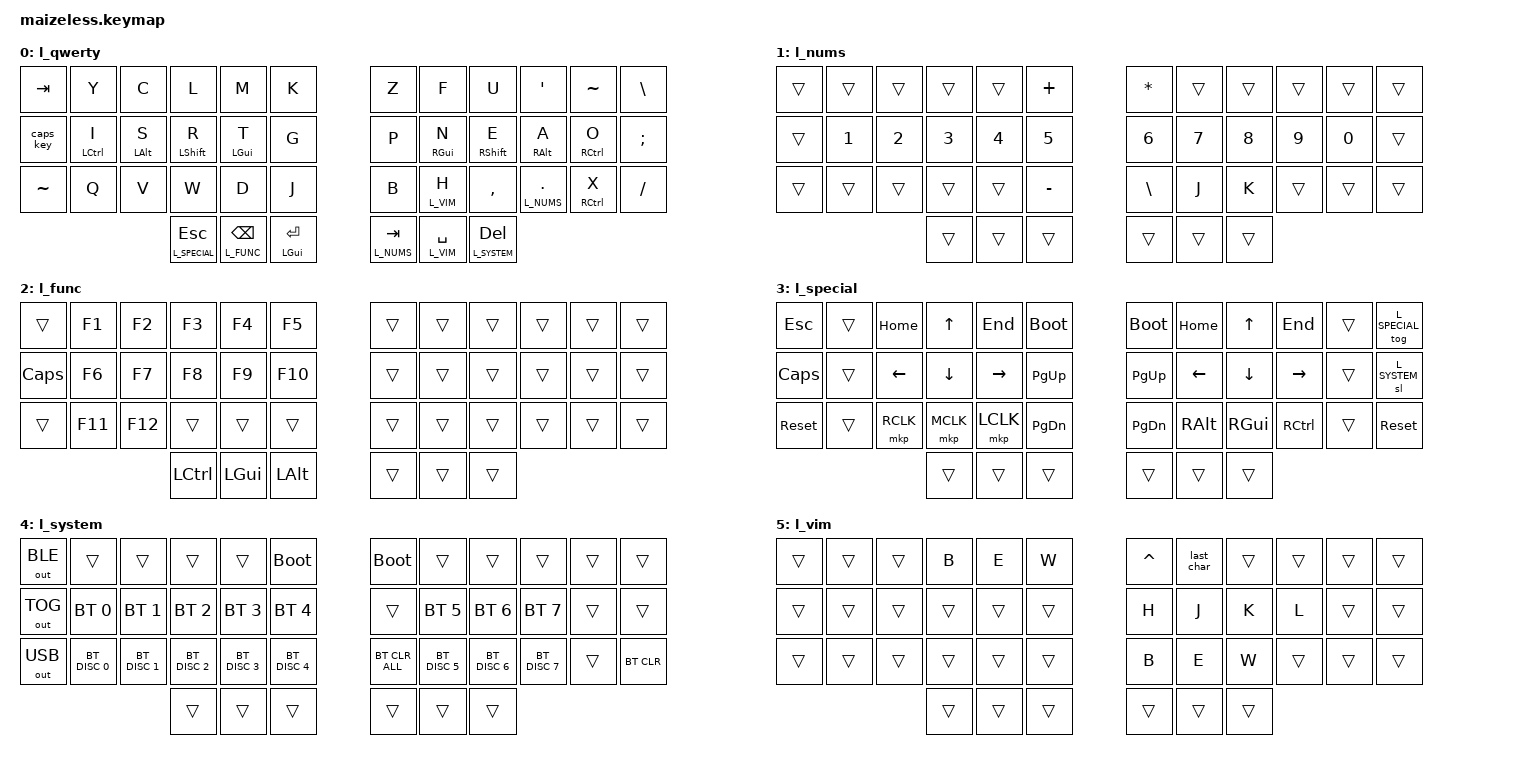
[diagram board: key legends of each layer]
/* vim: ft=dts
 * Copyright (c) 2020 The ZMK Contributors
 *
 * SPDX-License-Identifier: MIT
 */

#include <behaviors.dtsi>
#include <dt-bindings/zmk/keys.h>
#include <dt-bindings/zmk/bt.h>
#include <dt-bindings/zmk/outputs.h>
#include <dt-bindings/zmk/mouse.h>
// From dhruvinsh
#include <behaviors/num_word.dtsi>
#define L_QWERTY  0
#define L_NUMS    1
#define L_FUNC    2
#define L_SPECIAL 3
#define L_SYSTEM  4
#define L_VIM     5
//#define L_SFT_VIM 6
//#define L_VIM_VIS 7


&num_word {
//num_word to be used to temporarily activite number layer instead of holding layer key
};

//TODO Look at setting up the thumb keys and layers
//https://imgur.com/a/corne-crkbd-layout-DKzQ9TL
//https://github.com/manna-harbour/miryoku/tree/master/docs/reference
//https://precondition.github.io/home-row-mods#tap-hold-configuration-settings

/* Template

  layer_name{
    bindings = <
      &trans &trans &trans &trans &trans &trans           &trans &trans &trans &trans &trans &trans 
      &trans &trans &trans &trans &trans &trans           &trans &trans &trans &trans &trans &trans 
      &trans &trans &trans &trans &trans &trans           &trans &trans &trans &trans &trans &trans  
                           &trans &trans &trans           &trans &trans &trans  
    >;
  };



 */
 
/{
    keymap {
                compatible = "zmk,keymap";

        l_qwerty {
            bindings = <
&kp TAB       &kp Y        &kp C         &kp L         &kp M        &kp K                &kp Z   &kp F         &kp U           &kp APOS        &kp TILDE         &kp BSLH
&caps_key     &hrm LCTRL I &hrm LALT S   &hrm LSHFT R  &hrm LGUI T  &kp G                &kp P   &hrm RGUI N   &hrm RSHFT E    &hrm RALT A     &hrm RCTRL O     &kp SEMI
&kp TILDE     &kp Q        &kp V         &kp W         &kp D        &kp J                &kp B   &lt L_VIM H   &kp COMMA       &lt L_NUMS DOT  &hrm RCTRL X     &kp SLASH
                            &lt L_SPECIAL ESC &lt L_FUNC BSPC &mt LGUI ENTER             &lt L_NUMS TAB &lt L_VIM SPACE &lt L_SYSTEM DEL
            >;
        };


        l_nums {
            bindings = <
&trans    &trans     &trans    &trans     &trans    &kp PLUS      &kp ASTRK &trans   &trans   &trans   &trans   &trans 
&trans    &kp N1     &kp N2    &kp N3     &kp N4    &kp N5        &kp N6    &kp N7   &kp N8   &kp N9   &kp N0   &trans
&trans    &trans     &trans    &trans     &trans    &kp MINUS     &kp BSLH  &kp J    &kp K    &trans   &trans   &trans
                               &trans     &trans    &trans            &trans      &trans   &trans
            >;
        };

// TODO add special functions like locks etc.
        l_func {
            bindings = <
&trans    &kp F1  &kp F2  &kp F3   &kp F4   &kp F5     &trans   &trans   &trans   &trans &trans  &trans
&kp CLCK  &kp F6  &kp F7  &kp F8   &kp F9   &kp F10    &trans   &trans   &trans   &trans &trans  &trans
&trans    &kp F11 &kp F12 &trans   &trans   &trans     &trans   &trans   &trans   &trans &trans  &trans
                        &kp LCTRL  &kp LGUI &kp LALT   &trans   &trans   &trans
            >;
        };

        l_special {
            bindings = <
&kp ESC    &trans  &kp HOME  &kp UP    &kp END   &bootloader     &bootloader  &kp HOME &kp UP   &kp END  &trans    &tog L_SPECIAL
&kp CLCK   &trans  &kp LEFT  &kp DOWN  &kp RIGHT &kp PG_UP       &kp PG_UP    &kp LEFT &kp DOWN &kp RIGHT &trans   &sl L_SYSTEM
&sys_reset &trans  &mkp RCLK &mkp MCLK &mkp LCLK &kp PG_DN       &kp PG_DN    &kp RALT &kp RGUI &kp RCTRL &trans   &sys_reset 
                             &trans &trans &trans                &trans       &trans   &trans
            >;
        };

        l_system {
            bindings = <
&out OUT_BLE &trans        &trans        &trans         &trans        &bootloader      &bootloader    &trans        &trans        &trans        &trans  &trans
&out OUT_TOG &bt BT_SEL 0  &bt BT_SEL 1  &bt BT_SEL 2   &bt BT_SEL 3  &bt BT_SEL 4     &trans         &bt BT_SEL 5  &bt BT_SEL 6  &bt BT_SEL 7  &trans  &trans
&out OUT_USB &bt BT_DISC 0 &bt BT_DISC 1 &bt BT_DISC 2  &bt BT_DISC 3 &bt BT_DISC 4    &bt BT_CLR_ALL &bt BT_DISC 5 &bt BT_DISC 6 &bt BT_DISC 7 &trans  &bt BT_CLR
                                         &trans         &trans        &trans           &trans         &trans        &trans
            >;
        };

/*         l_vim { */
/*     bindings = < */
/* &trans        &trans      &kp LC(RIGHT) &paste_dn  &kp END        &td_vim_gg      &kp DOWN        &kp RIGHT  &kp LC(Z)     &kp LC(C)     &kp HOME       &tog L_VIM */
/* &trans        &kp END     &kp BSPC      &trans     &trans         &kp LC(X)       &kp LEFT        &trans     &kp LC(RIGHT) &tog L_VIM    &newline_after &trans */
/* &mo L_SFT_VIM &trans      &kp DEL       &kp LC(X)  &tog L_VIM_VIS &kp LC(LEFT)    &kp UP          &trans     &trans        &trans        &kp LC(E)      &mo L_SFT_VIM */
/*                                         &trans     &trans         &mo L_SFT_VIM   &trans          &trans     &trans */
/*             >; */
/*         }; */

  l_vim{
    bindings = <
      &trans &trans &trans &kp B  &kp E  &kp W            &kp CARET   &last_char  &trans &trans &trans &trans 
      &trans &trans &trans &trans &trans &trans           &kp H       &kp J       &kp K  &kp L  &trans &trans 
      &trans &trans &trans &trans &trans &trans           &kp B       &kp E       &kp W  &trans &trans &trans  
                           &trans &trans &trans           &trans &trans &trans  
    >;
  };


/*         l_sft_vim { */
/*                         bindings = < */
/* // &trans  &trans  &trans  &trans  &kp END &trans        &kp HOME &trans  &trans  &trans  &trans  &trans */
/* &trans   &trans  &trans   &paste_up  &kp LS(END)  &kp LC(END)   &trans   &trans  &trans  &yank_eol    &trans         &trans */
/* &trans   &kp END &trans   &trans     &trans       &cut_eol      &trans   &trans  &trans  &kp HOME     &newline_up    &trans */
/* &trans   &trans  &kp BSPC &trans     &select_line &trans        &trans   &trans  &trans  &trans       &trans         &trans */
/*                           &trans     &trans       &trans        &trans   &trans  &trans */
/*                         >; */
/*                 }; */

/*         l_vim_vis { */
/*                         bindings = < */
/* // &tog L_VIM_VIS &trans  &trans  &trans  &kp LS(END) &trans        &kp LS(HOME) &trans  &trans  &trans  &kp LS(HOME) &trans */
/* &tog L_VIM_VIS  &trans  &kp LC(LS(RIGHT)) &trans  &kp LS(END)          &kp LS(LC(END))  &kp LS(DOWN) &kp LS(RIGHT) &kp LC(Z)         &kp LC(C) &trans  &trans */
/* &trans          &trans  &trans            &trans  &trans            &kp LC(X)        &kp LS(LEFT) &trans        &kp LC(LS(RIGHT)) &trans  &trans  &trans */
/* &trans          &trans  &kp BSPC          &trans  &tog L_VIM_VIS    &kp LC(LS(LEFT)) &kp LS(UP)   &trans        &kp LS(TAB)       &kp TAB &trans  &trans */
/*                                           &trans  &trans  &trans        &trans   &trans  &trans */
/*             >; */
/*         }; */

};


/*
 bindings = <
&kp TAB       &kp Y        &kp C         &kp L         &kp M        &kp K                &kp Z   &kp F         &kp U           &kp APOS        &kp AMPS         &kp GRAVE
&kp AT        &hrm LCTRL I &hrm LALT S   &hrm LSHFT R  &hrm LGUI T  &kp G                &kp P   &hrm RGUI N   &hrm RSHFT E    &hrm RALT A     &hrm RCTRL O     &kp SEMI
&kp TILDE     &kp Q        &kp V         &kp W         &kp D        &kp J                &kp B   &lt L_VIM H   &kp COMMA       &lt L_NUMS DOT  &hrm RCTRL X     &kp SLASH
                            &lt L_SPECIAL ESC &lt L_FUNC BSPC &lt L_SYMBOLS ENTER   &lt L_NUMS TAB &lt L_VIM SPACE &lt L_SYSTEM DEL
*/ 

    combos {
        compatible = "zmk,combos";

        combo_def_sticky_shift{
          key-positions= <15 20>;
          bindings = <&sk LSHIFT>;
          layers = <0>;
        };

        combo_def_num_word{
          key-positions= <16 19>;
          bindings = <&num_word L_NUMS>;
          layers = <0>;
        };

        combo_def_lpar{
          key-positions= <15 16>;
          bindings = <&kp LPAR>;
          layers = <0 1>;
        };

        combo_def_rpar{
          key-positions= <19 20>;
          bindings = <&kp RPAR>;
          layers = <0 1>;
        };

        combo_def_lbrc{
          key-positions= <15 28>;
          bindings = <&kp LBRC>;
          layers = <0 1>;
        };

        combo_def_rbrc{
          key-positions= <20 31>;
          bindings = <&kp RBRC>;
          layers = <0 1>;
        };

        combo_def_lbkt{
          key-positions= <16 17>;
          bindings = <&kp LBKT>;
          layers = <0 1>;
        };

        combo_def_rbkt{
          key-positions= <18 19>;
          bindings = <&kp RBKT>;
          layers = <0 1>;
        };

        combo_def_GT{
          key-positions= <3 16>;
          bindings = <&kp GT>;
          layers = <0 1>;
        };

        combo_def_LT{
          key-positions= <15 4>;
          bindings = <&kp LT>;
          layers = <0 1>;
        };

        combo_def_fslh{
          key-positions= <4 17>;
          bindings = <&kp FSLH>;
          layers = <0>;
        };

        combo_def_bslh{
          key-positions= <7 18>;
          bindings = <&kp BSLH>;
          layers = <0>;
        };

        combo_def_excl{
          key-positions= <3 4>;
          bindings = <&kp EXCL>;
          layers = <0 1>;
        };

        combo_def_equal{
          key-positions= <7 8>;
          bindings = <&kp EQUAL>;
          layers = <0 1>;
        };

        combo_def_colon{
          key-positions= <13 14>;
          bindings = <&kp COLON>;
          layers = <0 1>;
        };

        combo_def_semi{
          key-positions= <21 22>;
          bindings = <&kp SEMI>;
          layers = <0 1>;
        };

        combo_def_pipe{
          key-positions= <27 28>;
          bindings = <&kp PIPE>;
          layers = <0 1>;
        };

        combo_def_amps{
          key-positions= <31 32>;
          bindings = <&kp AMPS>;
          layers = <0 1>;
        };

        combo_def_grave{
          key-positions= <2 3>;
          bindings = <&kp GRAVE>;
          layers = <0>;
        };

        combo_def_dqt{
          key-positions= <8 9>;
          bindings = <&kp DQT>;
          layers = <0>;
        };

        combo_def_astrk{
          key-positions= <4 5>;
          bindings = <&kp ASTRK>;
          layers = <0 1>;
        };

        combo_def_perc{
          key-positions= <6 7>;
          bindings = <&kp PRCNT>;
          layers = <0 1>;
        };

        combo_def_plus{
          key-positions= <14 15>;
          bindings = <&kp PLUS>;
          layers = <0>;
        };

        combo_def_minus{
          key-positions= <20 21>;
          bindings = <&kp MINUS>;
          layers = <0>;
        };

        combo_def_hash{
          key-positions= <8 19>;
          bindings = <&kp HASH>;
          layers = <0>;
        };

        combo_def_caret{
          key-positions= <7 20>;
          bindings = <&kp CARET>;
          layers = <0>;
        };

        combo_def_at{
          key-positions= <16 29>;
          bindings = <&kp AT>;
          layers = <0>;
        };

        combo_def_under{
          key-positions= <19 30>;
          bindings = <&kp UNDER>;
          layers = <0>;
        };

        combo_def_copy{
          key-positions= <26 27>;
          bindings = <&copy_morph>;
          layers = <0>;
        };

        combo_def_paste{
          key-positions= <32 33>;
          bindings = <&paste_morph>;
          layers = <0>;
        };

        combo_def_undo{
          key-positions= <28 29>;
          bindings = <&kp LC(Z)>;
          layers = <0>;
        };

        combo_def_redo{
          key-positions= <30 31>;
          bindings = <&kp LC(LS(Z))>;
          layers = <0>;
        };
    };

    macros {

      last_char: last_char{
        compatible = "zmk,behavior-macro";
        #binding-cells = <0>;
        wait-ms = <100>;
        bindings = <&kp G &kp UNDERSCORE>;
      };
        newline_after: newline_after {
            compatible = "zmk,behavior-macro";
            #binding-cells = <0>;
            wait-ms = <100>;
            bindings = <&kp END &kp ENTER>;
        };

        paste_up: paste_up {
            compatible = "zmk,behavior-macro";
            #binding-cells = <0>;
            wait-ms = <100>;
            bindings = <&kp HOME &kp LC(V) &kp ENTER>;
        };

        paste_dn: paste_dn {
            compatible = "zmk,behavior-macro";
            #binding-cells = <0>;
            wait-ms = <100>;
            bindings = <&kp END &kp ENTER &kp LC(V)>;
        };

        cut_eol: cut_eol {
            compatible = "zmk,behavior-macro";
            #binding-cells = <0>;
            wait-ms = <100>;
            bindings = <&kp LS(END) &kp LC(X)>;
        };

        select_line: select_line {
            compatible = "zmk,behavior-macro";
            #binding-cells = <0>;
            wait-ms = <100>;
            bindings = <&kp HOME &kp LS(END)>;
        };

        yank_eol: yank_eol {
            compatible = "zmk,behavior-macro";
            #binding-cells = <0>;
            wait-ms = <100>;
            bindings = <&kp LS(END) &kp LC(C)>;
        };

        newline_up: newline_up {
            compatible = "zmk,behavior-macro"; 
            #binding-cells = <0>;
            wait-ms = <100>;
            bindings = <&kp HOME &kp ENTER &kp LEFT>;
        };

    };

    behaviors {
        hrm: home_row_mods {
            compatible = "zmk,behavior-hold-tap";
            #binding-cells = <2>;
            flavor = "balanced";
            tapping-term-ms = <180>;
            quick-tap-ms = <200>;
            require-prior-idle-ms = <145>;
            bindings = <&kp>, <&kp>;
            // Trigger instantly for tab, escape thumb key (esp useful for esc_gr), shifts/brackets
            hold-trigger-key-positions = <0 36 24 35>;
            hold-trigger-on-release;
        };

        paste_morph: paste_morph {
            compatible = "zmk,behavior-mod-morph";
            #binding-cells = <0>;
            bindings = <&kp LC(V) &kp LC(LS(V))>; // normal vs shift
            mods = <(MOD_LSFT | MOD_RSFT)>;          // modifiers to check
            keep-mods = <(MOD_LSFT | MOD_RSFT)>;
        };
        copy_morph: copy_morph {
            compatible = "zmk,behavior-mod-morph";
            #binding-cells = <0>;
            bindings = <&kp LC(C) &kp LC(LS(C))>;
            mods = <(MOD_LSFT|MOD_RSFT)>;
            keep-mods = <(MOD_LSFT | MOD_RSFT)>;
        };

        caps_Word: prog_caps {
            compatible = "zmk,behavior-caps-word";
            #binding-cells = <0>;
            continue-list = <UNDERSCORE>;
        };

        caps_key: caps_key_td {
            compatible = "zmk,behavior-tap-dance";
            #binding-cells = <0>;
            tapping-term-ms = <200>;
            bindings = <&caps_Word>, <&kp CAPS>;
        };

    };
};
